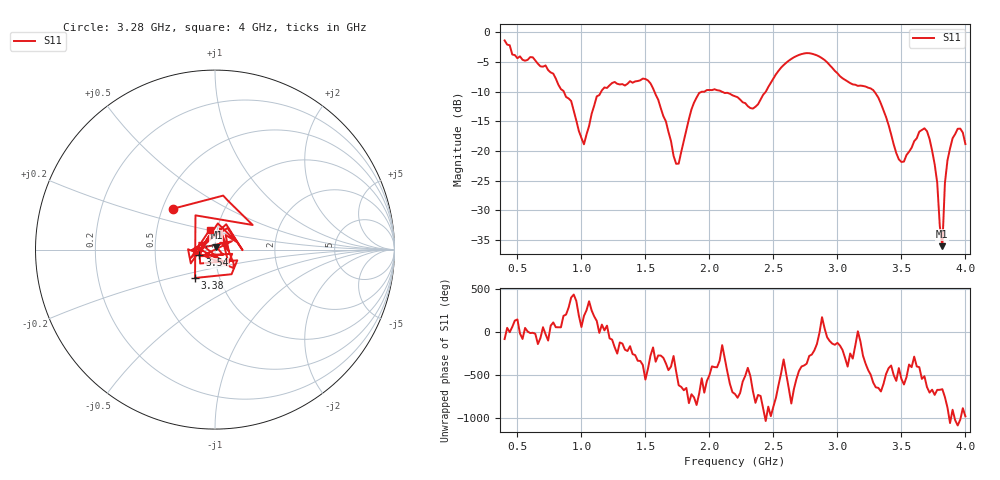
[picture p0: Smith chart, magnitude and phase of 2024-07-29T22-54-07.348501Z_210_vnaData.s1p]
!Created with skrf (http://scikit-rf.org).
# Hz S RI R 50.0
!freq ReS11 ImS11
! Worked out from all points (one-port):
!   181 points, 400 MHz to 4 GHz, reference 50 ohm
!   lowest |S11| = -36.0 dB at 3.82 GHz (marker M1), VSWR 1.03, Z = 50.8 + j1.39 ohm
!   |S11| at or under -10 dB: 1.57 GHz to 1.962 GHz (391.2 MHz wide, 22.2 % of centre); 2.096 GHz to 2.441 GHz (345.3 MHz wide, 15.2 % of centre); 3.289 GHz to end of sweep (the widest 3 of 4)
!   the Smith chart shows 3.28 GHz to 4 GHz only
!   S11 on the Smith chart (normalised r, x): 3.28 GHz: 0.57, +0.29; 3.38 GHz: 0.76, -0.25; 3.54 GHz: 0.84, -0.05; 4 GHz: 0.92, +0.21
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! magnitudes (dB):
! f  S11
! 400 MHz  -1.4
! 720 MHz  -5.6
! 860 MHz  -9.9
! 1.02 GHz  -18.9
! 1.12 GHz  -10.8
! 1.3 GHz  -8.8
! 1.54 GHz  -8.6
! 1.76 GHz  -22.1
! 1.86 GHz  -13.0
! 1.92 GHz  -10.2
! 2.2 GHz  -10.8
! 2.34 GHz  -12.9
! 2.66 GHz  -4.2
! 2.84 GHz  -3.9
! 3.1 GHz  -8.6
! 3.28 GHz  -9.8
! 3.38 GHz  -14.3
! 3.48 GHz  -21.4
! 3.54 GHz  -20.7
! 3.56 GHz  -20.1
! 3.7 GHz  -16.7
! 3.78 GHz  -25.4
! 3.8 GHz  -32.6
! 3.82 GHz  -36.0
! 3.84 GHz  -25.4
! 3.88 GHz  -19.6
! 3.94 GHz  -16.3
! 4 GHz  -18.8
